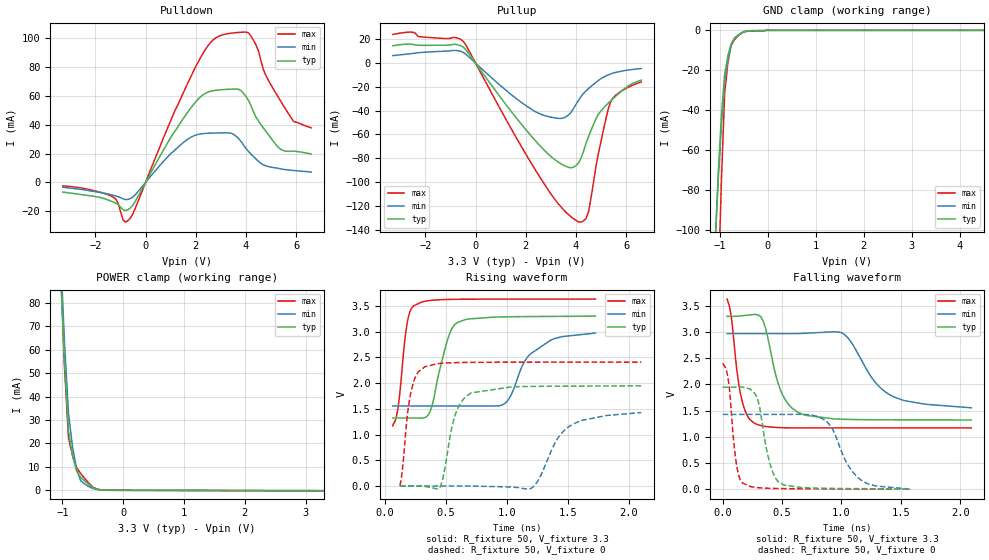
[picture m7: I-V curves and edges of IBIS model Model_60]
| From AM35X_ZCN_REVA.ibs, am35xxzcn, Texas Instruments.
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| Model based on original model for BQ1833DV40DTPBFZP18LL_7LM_X50
|   Sub model LL_7LM_X50_PU_ON_3P3
[model]   Model_60
|[Description]  3.3V-I/O-PU-X
|[Input Load]   PU
|[Output Drive]
|Voltage   3.3V
|Mode   I/O
Model_type   I/O
Polarity   Non-Inverting
Enable   Active-Low
Vinl =  0.8V
Vinh =  2V
Cref =  15pF
Rref =  100.0000M
Vref =  0V
Vmeas =  1.65
C_comp   1.964904p   1.748404p   2.088782p
[Model Spec]
Vinl   0.8V   0.8V   0.8V
Vinh   2V   2V   2V
[Temperature Range]   25   125   -40
[Voltage Range]   3.3   2.97   3.63
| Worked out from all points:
|   slope of the pulldown table from 0 to 0.495 V, typ, clamps not added: 31.5 ohm
|   slope of the pullup table from 0 to 0.495 V, typ, clamps not added: 34.1 ohm
|   GND clamp passes 1 mA (typ) near -0.52 V on its own axis
|   POWER clamp passes 1 mA (typ) near -0.48 V on its own axis
|   rising waveform, R_fixture 50, V_fixture 3.3: 20-80 % time 120ps typ, 221ps min, 65.6ps max; typ from 1.32 V to 3.3 V
|   rising waveform, R_fixture 50, V_fixture 0: 20-80 % time 113ps typ, 210ps min, 73.3ps max; typ from 0.003 V to 1.95 V
|   falling waveform, R_fixture 50, V_fixture 3.3: 20-80 % time 146ps typ, 268ps min, 85.6ps max; typ from 3.3 V to 1.32 V
|   falling waveform, R_fixture 50, V_fixture 0: 20-80 % time 100ps typ, 186ps min, 59.4ps max; typ from 1.95 V to 0.003 V
[POWER_clamp]
-3.3V     2.432A     2.868A     2.62A
-1.033V   95.08mA    103.2mA    96.86mA
-966.7mV  54.92mA    63.38mA    53.02mA
-900mV    25.2mA     32.75mA    22.32mA
-833.3mV  14.73mA    18.43mA    14.71mA
-766.7mV  8.199mA    8.88mA     9.664mA
-700mV    5.588mA    4.11mA     7.196mA
-566.7mV  2.492mA    1.585mA    3.092mA
-500mV    1.193mA    763uA      1.348mA
-433.3mV  535.3uA    364.9uA    567.5uA
-300mV    28.66uA    27.24uA    30.96uA
3.3V      -177.5uA   -143.2uA   -277.3uA
[Pulldown]
-3.3V     -6.752mA   -3.455mA   -2.453mA
-1.3V     -13.57mA   -8.914mA   -10.17mA
-900mV    -18.88mA   -11.42mA   -25.93mA
-700mV    -18.93mA   -11.84mA   -26.49mA
2.1V      57.83mA    33.3mA     83.68mA
2.6V      63.26mA    34.15mA    97.27mA
3.2V      64.48mA    34.36mA    102.9mA
3.7V      64.6mA     30.45mA    104mA
4.1V      56.79mA    21.38mA    103.6mA
5.3V      24.05mA    9.632mA    58.63mA
5.9V      21.65mA    8.225mA    42.16mA
6.6V      19.68mA    7.168mA    37.84mA
[Pullup]
-3.3V     14.63mA    6.311mA    24.1mA
-2.5V     15.75mA    8.119mA    25.97mA
-500mV    13.64mA    9.134mA    18.56mA
1.5V      -42.79mA   -27.78mA   -58.19mA
2.6V      -70.29mA   -43mA      -97.17mA
3.5V      -85.79mA   -46.07mA   -123.2mA
4.1V      -84.01mA   -31.26mA   -133.5mA
4.4V      -67.36mA   -23.27mA   -130.6mA
4.5V      -61.7mA    -21.35mA   -124.8mA
4.9V      -42.71mA   -14.38mA   -75.13mA
5.4V      -31.3mA    -8.901mA   -31.49mA
6.6V      -14.33mA   -4.555mA   -15.8mA
[GND_clamp]
-3.3V     -2.048A    -1.805A    -3.667A
-1.1V     -108.7mA   -106.5mA   -191.5mA
-1.033V   -71.21mA   -74.08mA   -127.8mA
-966.7mV  -42.28mA   -46.87mA   -74.43mA
-900mV    -21.88mA   -24.94mA   -31.36mA
-833.3mV  -12.75mA   -14.54mA   -16.38mA
-766.7mV  -6.878mA   -7.548mA   -7.563mA
-700mV    -4.259mA   -3.966mA   -4.917mA
-566.7mV  -1.601mA   -1.571mA   -1.659mA
-500mV    -700.3uA   -785.2uA   -703.8uA
-33.33mV  0A         0A         0A
6.6V      0A         0A         0A
[Ramp]
dV/dt_f  1.2089273/0.14667288n 0.87056519/0.27074507n  1.4946333/86.140497p
dV/dt_r  1.2014792/0.11350062n 0.89245093/0.21112668n  1.4660708/73.754268p
R_load = 50
[Rising Waveform]
R_fixture = 50
V_fixture = 3.3
V_fixture_min = 2.97
V_fixture_max = 3.63
63.43ps   1.322V     1.555V     1.171V
110.3ps   1.322V     1.555V     1.574V
181.8ps   1.322V     1.555V     3.155V
236ps     1.322V     1.555V     3.501V
368.1ps   1.438V     1.555V     3.602V
511.9ps   2.827V     1.554V     3.622V
598.3ps   3.18V      1.554V     3.626V
970.1ps   3.284V     1.584V     3.629V
1.191ns   3.291V     2.561V     3.63V
1.727ns   3.3V       2.97V      3.63V
[Rising Waveform]
R_fixture = 50
V_fixture = 0
V_fixture_min = 0
V_fixture_max = 0
124ps     3.38mV     2.142mV    4.745mV
211.8ps   3.51mV     2.142mV    1.809V
264.8ps   3.222mV    2.143mV    2.183V
330.1ps   -6.327mV   2.143mV    2.319V
453.1ps   -12.75mV   2.137mV    2.381V
579.1ps   1.401V     2.181mV    2.396V
706.7ps   1.809V     2.282mV    2.402V
1.197ns   1.935V     -44.66mV   2.405V
1.513ns   1.94V      1.16V      2.406V
2.104ns   1.948V     1.428V     2.405V
[Falling Waveform]
R_fixture = 50
V_fixture = 3.3
V_fixture_min = 2.97
V_fixture_max = 3.63
37.42ps   3.3V       2.97V      3.63V
72.23ps   3.3V       2.97V      3.285V
159.1ps   3.311V     2.97V      1.725V
273.9ps   3.337V     2.97V      1.253V
349.7ps   3.152V     2.97V      1.203V
501ps     1.82V      2.97V      1.175V
634.7ps   1.466V     2.972V     1.171V
1.017ns   1.336V     2.966V     1.172V
1.459ns   1.325V     1.746V     1.171V
2.093ns   1.322V     1.555V     1.171V
[Falling Waveform]
R_fixture = 50
V_fixture = 0
V_fixture_min = 0
V_fixture_max = 0
0s        1.948V     1.428V     2.405V
51.59ps   1.948V     1.428V     2.012V
118.6ps   1.95V      1.428V     439.7mV
165.6ps   1.952V     1.428V     122.1mV
290ps     1.739V     1.428V     31.95mV
390.2ps   555mV      1.428V     18.5mV
475ps     129.8mV    1.428V     13.82mV
837.9ps   19.19mV    1.349V     6.473mV
1.155ns   12.01mV    192.7mV    5.045mV
1.579ns   3.38mV     2.142mV    4.745mV
